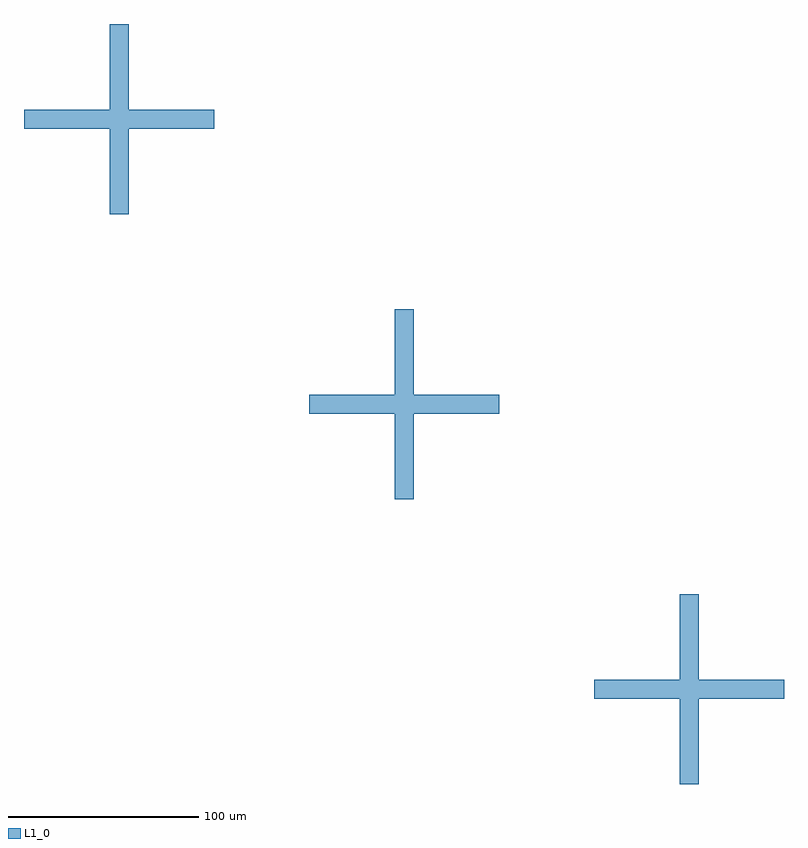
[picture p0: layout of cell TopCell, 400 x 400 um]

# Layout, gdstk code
import gdstk
lib = gdstk.Library(unit=1e-6, precision=1e-09)
def R(c, l, rs):  # rectangles x0, y0, x1, y1
    for r in rs: c.add(gdstk.rectangle(r[:2], r[2:], *l))
L1_0 = (1, 0)

topcell = lib.new_cell('TopCell')
R(topcell, L1_0, [(145,-200,155,-100), (100,-155,200,-145), (-5,-50,5,50), (-50,-5,50,5), (-155,100,-145,200), (-200,145,-100,155)])

lib.write_gds('TopCell.gds')
